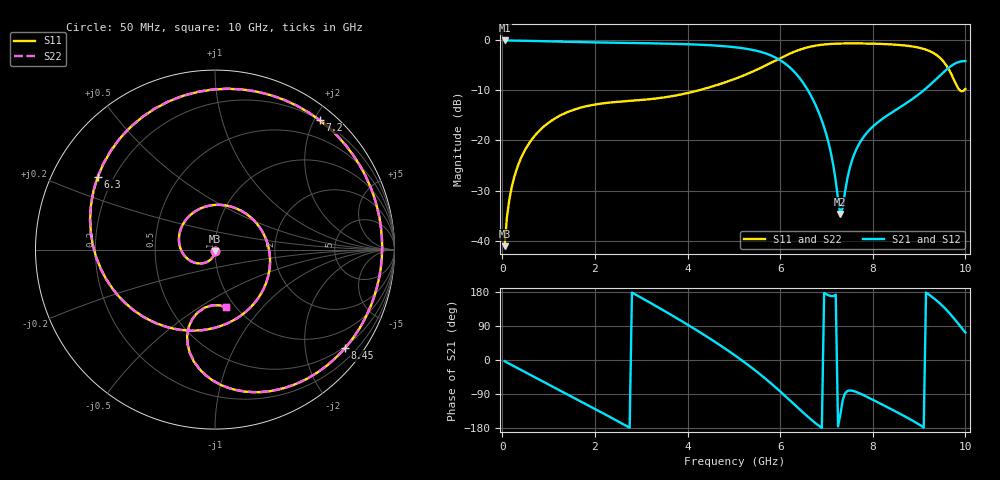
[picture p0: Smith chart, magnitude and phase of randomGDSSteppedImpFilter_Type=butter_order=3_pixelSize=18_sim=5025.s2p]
! freq	dB(S11)	phase(S11)	dB(S12)	phase(S12)
!  dB(S21)	phase(S21)	dB(S22)	phase(S22)
!S-par simulation data
#  GHz  S  DB  R 50
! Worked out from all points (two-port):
!   200 points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, 50 MHz to 10 GHz, reference 50 ohm
!   highest |S21| = -0.01 dB at 50 MHz (marker M1); lowest = -34.7 dB at 7.3 GHz (marker M2)
!   |S21| within 3 dB of the highest: start of sweep to 5.802 GHz
!   lowest |S11| = -41.1 dB at 50 MHz (marker M3), VSWR 1.02, Z = 50 - j0.878 ohm
!   |S11| at or under -10 dB: start of sweep to 4.232 GHz; 9.885 GHz to 9.966 GHz (81.06 MHz wide, 0.817 % of centre)
!   |S22| runs from -41.1 to -0.6 dB; largest |S21 - S12| = 0
!   S11 on the Smith chart (normalised r, x): 50 MHz: 1.00, -0.02; 6.3 GHz: 0.14, +0.28; 7.2 GHz: 0.20, +2.08; 8.45 GHz: 0.46, -2.92; 10 GHz: 0.91, -0.65
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0.05  -41.13 -91.0  -0.01 -3.3  -0.01 -3.3  -41.11 -90.8
0.2  -29.47 -102.6  -0.03 -13.1  -0.03 -13.1  -29.47 -102.6
0.5  -21.76 -122.7  -0.08 -32.5  -0.08 -32.5  -21.76 -122.7
1.15  -15.52 -165.0  -0.22 -74.3  -0.22 -74.3  -15.52 -164.9
1.75  -13.30 156.3  -0.35 -112.9  -0.35 -112.9  -13.30 156.5
2.6  -12.19 100.7  -0.49 -168.6  -0.49 -168.6  -12.19 100.9
3.4  -11.51 46.1  -0.61 136.6  -0.61 136.6  -11.51 46.4
4.2  -10.08 -11.9  -0.83 78.3  -0.83 78.3  -10.08 -11.7
5.05  -7.59 -80.8  -1.39 9.9  -1.39 9.9  -7.59 -80.7
5.4  -6.26 -113.1  -1.89 -21.7  -1.89 -21.7  -6.26 -112.9
5.75  -4.72 -148.8  -2.81 -56.2  -2.81 -56.2  -4.72 -148.5
6.3  -2.29 148.2  -6.23 -116.6  -6.23 -116.6  -2.29 148.6
6.7  -1.16 101.6  -11.67 -160.4  -11.67 -160.4  -1.16 102.1
7  -0.77 70.0  -18.91 173.3  -18.91 173.3  -0.77 70.4
7.2  -0.65 51.1  -28.07 172.4  -28.07 172.4  -0.65 51.5
7.3  -0.62 42.3  -34.70 -143.9  -34.70 -143.9  -0.62 42.7
7.65  -0.60 14.5  -21.67 -84.6  -21.67 -84.6  -0.60 14.9
8.35  -0.77 -31.2  -14.78 -126.8  -14.78 -126.8  -0.77 -30.9
8.45  -0.83 -37.1  -14.18 -133.1  -14.18 -133.1  -0.83 -36.8
9.05  -1.57 -72.1  -10.36 -174.0  -10.36 -174.0  -1.57 -71.9
9.5  -3.94 -100.6  -6.61 143.6  -6.61 143.6  -3.94 -100.5
10  -9.71 -79.2  -4.14 72.5  -4.14 72.5  -9.71 -79.1
